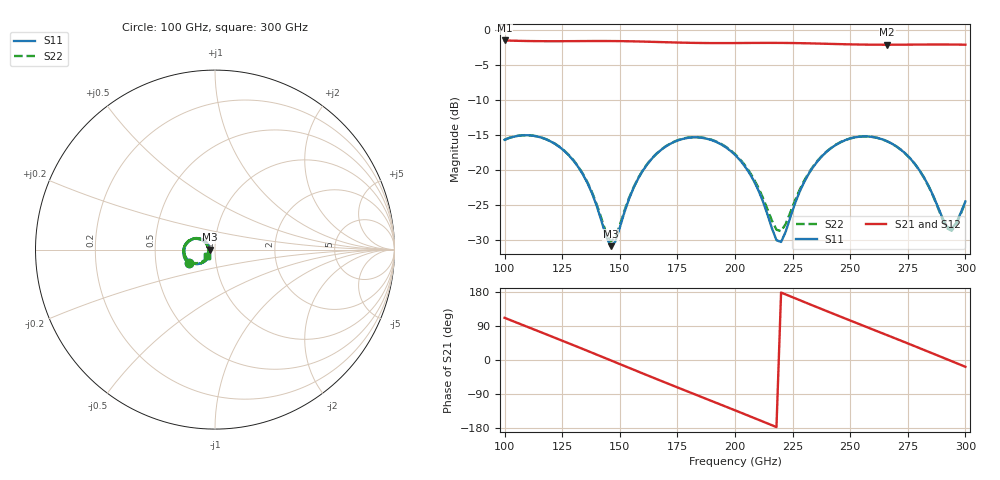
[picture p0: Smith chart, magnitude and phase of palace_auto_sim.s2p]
#  GHZ S DB R 50
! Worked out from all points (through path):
!   101 points, 100 GHz to 300 GHz, reference 50 ohm
!   highest |S21| = -1.45 dB at 100 GHz (marker M1); lowest = -2.1 dB at 266 GHz (marker M2)
!   group delay of S21, straight-line fit = 6.8 ps
!   lowest |S11| = -30.8 dB at 146 GHz (marker M3), VSWR 1.06, Z = 47.2 + j0.0337 ohm
!   |S11| at or under -10 dB: start of sweep to end of sweep
!   |S22| runs from -30.2 to -15.0 dB; largest |S21 - S12| = 9.3e-14
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100  -15.65 -153.0  -1.45 111.4  -1.45 111.4  -15.63 -152.6
116  -15.34 173.4  -1.56 72.7  -1.56 72.7  -15.32 174.1
126  -17.26 153.7  -1.56 48.5  -1.56 48.5  -17.22 154.7
134  -20.61 141.3  -1.54 28.9  -1.54 28.9  -20.52 142.8
146  -30.85 179.3  -1.54 -0.8  -1.54 -0.8  -30.18 179.8
148  -30.23 -156.5  -1.54 -5.7  -1.54 -5.7  -29.66 -157.8
158  -21.17 -130.9  -1.60 -30.6  -1.60 -30.6  -21.10 -131.8
168  -17.07 -146.1  -1.69 -55.2  -1.69 -55.2  -17.03 -146.3
184  -15.31 -177.8  -1.81 -94.0  -1.81 -94.0  -15.27 -177.2
200  -17.80 151.6  -1.82 -132.7  -1.82 -132.7  -17.69 153.2
208  -21.40 141.1  -1.81 -152.3  -1.81 -152.3  -21.15 143.9
218  -30.00 170.6  -1.80 -177.0  -1.80 -177.0  -28.49 172.1
220  -30.25 -166.6  -1.81 178.0  -1.81 178.0  -28.71 -169.6
228  -23.12 -130.5  -1.84 158.1  -1.84 158.1  -22.83 -135.6
234  -19.50 -134.8  -1.88 143.3  -1.88 143.3  -19.40 -138.4
250  -15.46 -162.8  -2.01 104.2  -2.01 104.2  -15.44 -165.0
266  -15.85 166.5  -2.06 65.6  -2.06 65.6  -15.86 164.7
268  -16.18 162.9  -2.06 60.8  -2.06 60.8  -16.19 161.1
280  -19.97 145.3  -2.04 31.6  -2.04 31.6  -19.99 143.4
292  -28.04 170.2  -2.03 1.9  -2.03 1.9  -28.28 168.4
296  -27.55 -157.1  -2.04 -8.0  -2.04 -8.0  -27.77 -157.7
300  -24.46 -140.5  -2.06 -17.9  -2.06 -17.9  -24.58 -140.9
